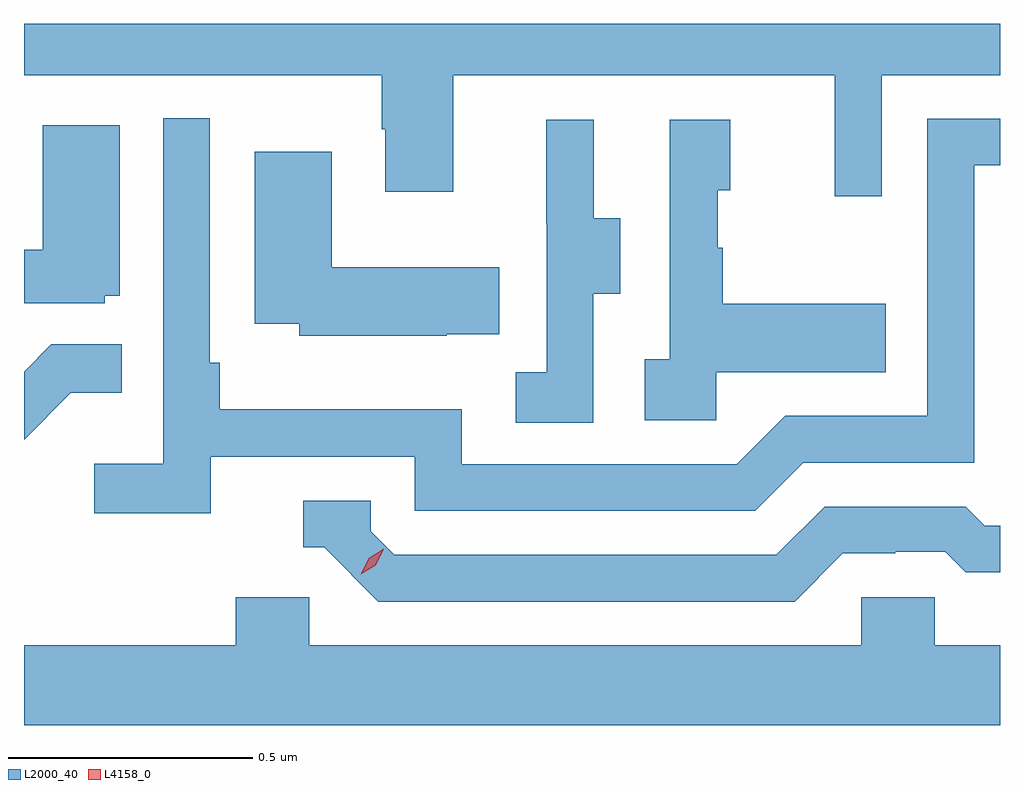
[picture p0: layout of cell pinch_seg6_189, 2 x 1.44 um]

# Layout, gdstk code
import gdstk
lib = gdstk.Library(unit=1e-6, precision=1e-09)
def P(c, l, *ps):  # polygons
    for p in ps: c.add(gdstk.Polygon(p, *l))
L2000_40 = (2000, 40)
L4158_0 = (4158, 0)

pinch_seg6_189 = lib.new_cell('pinch_seg6_189')
P(pinch_seg6_189, L2000_40, [(1036.203,936.68),(1036.445,936.68),(1036.445,936.785),(1034.445,936.785),(1034.445,936.68),(1035.178,936.68),(1035.178,936.569),(1035.185,936.569),(1035.185,936.441),(1035.325,936.441),(1035.325,936.68),(1036.106,936.68),(1036.106,936.432),(1036.203,936.432)],
  [(1034.828,935.898),(1035.246,935.898),(1035.246,935.787),(1035.943,935.787),(1036.042,935.886),(1036.392,935.886),(1036.392,936.495),(1036.445,936.495),(1036.445,936.591),(1036.296,936.591),(1036.296,935.982),(1036.005,935.982),(1035.906,935.883),(1035.342,935.883),(1035.342,935.995),(1034.846,935.995),(1034.846,936.091),(1034.826,936.091),(1034.826,936.592),(1034.73,936.592),(1034.73,935.884),(1034.589,935.884),(1034.589,935.782),(1034.828,935.782)],
  [(1035.864,936.071),(1036.211,936.071),(1036.211,936.211),(1035.877,936.211),(1035.877,936.326),(1035.867,936.326),(1035.867,936.444),(1035.892,936.444),(1035.892,936.589),(1035.768,936.589),(1035.768,936.098),(1035.717,936.098),(1035.717,935.973),(1035.864,935.973)],
  [(1035.612,936.232),(1035.667,936.232),(1035.667,936.387),(1035.613,936.387),(1035.613,936.589),(1035.515,936.589),(1035.515,936.375),(1035.516,936.375),(1035.516,936.071),(1035.453,936.071),(1035.453,935.968),(1035.612,935.968)],
  [(1034.61,936.228),(1034.641,936.228),(1034.641,936.577),(1034.483,936.577),(1034.483,936.322),(1034.445,936.322),(1034.445,936.213),(1034.61,936.213)],
  [(1035.311,936.149),(1035.419,936.149),(1035.419,936.286),(1035.076,936.286),(1035.076,936.523),(1034.918,936.523),(1034.918,936.17),(1035.009,936.17),(1035.009,936.146),(1035.311,936.146)],
  [(1034.541,936.029),(1034.645,936.029),(1034.645,936.128),(1034.501,936.128),(1034.445,936.072),(1034.445,935.933)],
  [(1036.123,935.7),(1036.23,935.7),(1036.23,935.703),(1036.333,935.703),(1036.375,935.661),(1036.445,935.661),(1036.445,935.757),(1036.414,935.757),(1036.375,935.796),(1036.086,935.796),(1035.987,935.697),(1035.204,935.697),(1035.156,935.745),(1035.156,935.808),(1035.017,935.808),(1035.017,935.712),(1035.06,935.712),(1035.171,935.601),(1036.024,935.601)],
  [(1036.445,935.512),(1036.311,935.512),(1036.311,935.61),(1036.161,935.61),(1036.161,935.512),(1035.03,935.512),(1035.03,935.61),(1034.879,935.61),(1034.879,935.512),(1034.445,935.512),(1034.445,935.348),(1036.445,935.348)])
P(pinch_seg6_189, L4158_0, [(1035.135,935.657),(1035.135,935.657),(1035.151,935.69),(1035.182,935.709),(1035.182,935.709),(1035.182,935.709),(1035.166,935.676),(1035.135,935.657)])

lib.write_gds('pinch_seg6_189.gds')
